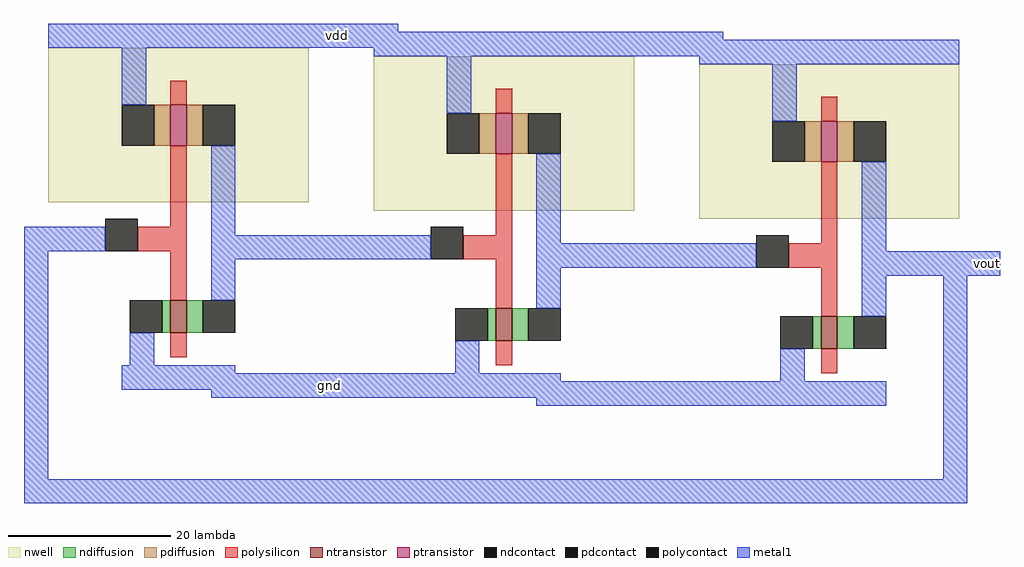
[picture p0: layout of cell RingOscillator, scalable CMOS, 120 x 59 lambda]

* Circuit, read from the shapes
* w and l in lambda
.subckt RingOscillator gnd vdd vout
M1 NOT_1/in vout gnd VSUBS nfet w=4 l=2
M2 NOT_2/in NOT_1/in gnd VSUBS nfet w=4 l=2
M3 vout NOT_2/in gnd VSUBS nfet w=4 l=2
M4 NOT_1/in vout vdd n1 pfet w=5 l=2
M5 NOT_2/in NOT_1/in vdd n2 pfet w=5 l=2
M6 vout NOT_2/in vdd n3 pfet w=5 l=2
.ends

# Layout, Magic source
magic
tech scmos
<< metal1 >>
rect 32 42 43 45
rect 71 41 83 44
rect -3 17 5 20
rect -3 -11 0 17
rect 25 16 45 19
rect 65 15 85 18
rect 106 14 117 17
rect 20 -1 51 2
rect 60 -2 91 1
rect 110 -11 113 14
rect -3 -14 113 -11
use NOT  NOT_0
transform 1 0 7 0 1 26
box -7 -26 25 19
use NOT  NOT_1
transform 1 0 47 0 1 25
box -7 -26 25 19
use NOT  NOT_2
transform 1 0 87 0 1 24
box -7 -26 25 19
<< labels >>
rlabel metal1 115 15 116 16 7 vout
rlabel metal1 35 43 36 44 5 vdd
rlabel metal1 34 0 35 1 1 gnd
<< end >>

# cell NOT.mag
magic
tech scmos
<< nwell >>
rect -7 -3 25 16
<< ntransistor >>
rect 8 -19 10 -15
<< ptransistor >>
rect 8 4 10 9
<< ndiffusion >>
rect 7 -19 8 -15
rect 10 -19 12 -15
<< pdiffusion >>
rect 6 4 8 9
rect 10 4 12 9
<< ndcontact >>
rect 3 -19 7 -15
rect 12 -19 16 -15
<< pdcontact >>
rect 2 4 6 9
rect 12 4 16 9
<< polysilicon >>
rect 8 9 10 12
rect 8 -6 10 4
rect 4 -9 10 -6
rect 8 -15 10 -9
rect 8 -22 10 -19
<< polycontact >>
rect 0 -9 4 -5
<< metal1 >>
rect -7 16 25 19
rect 2 9 5 16
rect -3 -9 0 -6
rect 13 -7 16 4
rect 13 -10 20 -7
rect 13 -15 16 -10
rect 3 -23 6 -19
rect 2 -26 16 -23
<< labels >>
rlabel metal1 6 17 9 18 5 vdd
rlabel metal1 -3 -8 -2 -7 3 in
rlabel metal1 18 -9 19 -8 1 out
rlabel metal1 9 -25 10 -24 1 gnd
<< end >>
